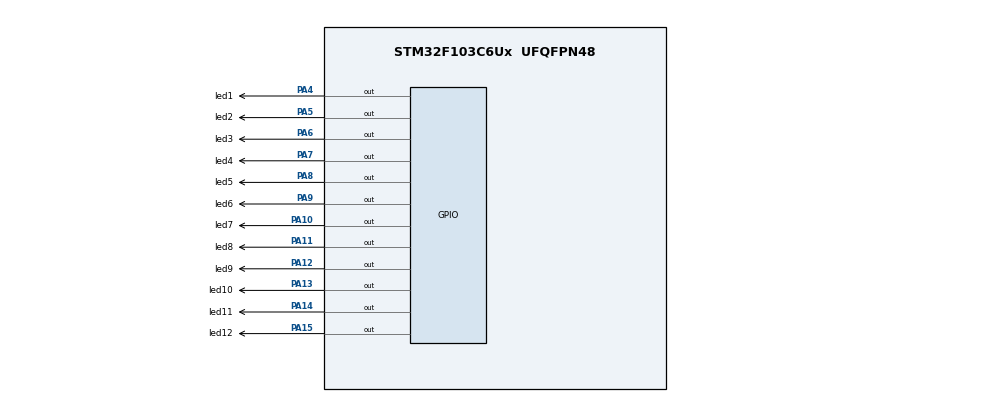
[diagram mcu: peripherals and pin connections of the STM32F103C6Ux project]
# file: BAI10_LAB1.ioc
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Mcu.Family=STM32F1
Mcu.Name=STM32F103C6Ux
Mcu.Package=UFQFPN48
NVIC.PriorityGroup=NVIC_PRIORITYGROUP_4
PA10.GPIO_Label=led7
PA10.Signal=GPIO_Output
PA11.GPIO_Label=led8
PA11.Signal=GPIO_Output
PA12.GPIO_Label=led9
PA12.Signal=GPIO_Output
PA13.GPIO_Label=led10
PA13.Signal=GPIO_Output
PA14.GPIO_Label=led11
PA14.Signal=GPIO_Output
PA15.GPIO_Label=led12
PA15.Signal=GPIO_Output
PA4.GPIO_Label=led1
PA4.Signal=GPIO_Output
PA5.GPIO_Label=led2
PA5.Signal=GPIO_Output
PA6.GPIO_Label=led3
PA6.Signal=GPIO_Output
PA7.GPIO_Label=led4
PA7.Signal=GPIO_Output
PA8.GPIO_Label=led5
PA8.Signal=GPIO_Output
PA9.GPIO_Label=led6
PA9.Signal=GPIO_Output
ProjectManager.HeapSize=0x200
ProjectManager.StackSize=0x400
ProjectManager.TargetToolchain=STM32CubeIDE
RCC.APB1Freq_Value=8000000
RCC.APB2Freq_Value=8000000
VP_SYS_VS_ND.Mode=No_Debug
board=custom

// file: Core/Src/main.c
/* USER CODE BEGIN Header */
/**
  ******************************************************************************
  * @file           : main.c
  * @brief          : Main program body
  ******************************************************************************
  * @attention
  *
  * <h2><center>&copy; Copyright (c) 2022 STMicroelectronics.
  * All rights reserved.</center></h2>
  *
  * This software component is licensed by ST under BSD 3-Clause license,
  * the "License"; You may not use this file except in compliance with the
  * License. You may obtain a copy of the License at:
  *                        opensource.org/licenses/BSD-3-Clause
  *
  ******************************************************************************
  */
/* USER CODE END Header */
#include "main.h"

void SystemClock_Config(void);
static void MX_GPIO_Init(void);

/* USER CODE BEGIN 0 */

void clearAllClock();
void setNumberOnClock(int num);
void clearNumberOnClock(int num);
/* USER CODE END 0 */

int main(void)
{

  /* MCU Configuration--------------------------------------------------------*/

  /* Reset of all peripherals, Initializes the Flash interface and the Systick. */
  HAL_Init();

  /* Configure the system clock */
  SystemClock_Config();

  /* Initialize all configured peripherals */
  MX_GPIO_Init();

  /* Infinite loop */
  /* USER CODE BEGIN WHILE */
  // set time for clock
  int hour = 11, min = 58, sec = 00;
  clearAllClock(); // clear all led on clock
  while (1)
  {
    /* USER CODE END WHILE */
	if(hour < 0)	hour = 0;
	if(sec < 0)		sec = 0;
	if(min < 0)		min = 0;
	if(sec >= 60){
	  clearNumberOnClock((sec-5)/5); // clear old second's led (led 11)
	  //set new second's led (led 0)
	  sec = 0;
	  min++;
	}
	if(min >= 60){
	  clearNumberOnClock((int)(min-5)/5); // clear old led of minute's led (led 11);
	  // set new minute's led
	  min = 0;
	  hour++;
	}
	if(hour >= 12){
		hour = 0;
		// set new hour's led
		setNumberOnClock(hour);
	}
	// clear old second's led when second turn to new led (when second %5 = 0)
	if(sec > 4 && sec%5 == 0) clearNumberOnClock((int) (sec-5)/5);
	// clear old minute's led when minute turn to new led (when minute %5 = 0)
	if(min > 4 && min%5 == 0) clearNumberOnClock((int) (min-5)/5);
	// set led for clock
	setNumberOnClock((int) sec/5);
	setNumberOnClock((int) min/5);
	setNumberOnClock(hour);
	sec++;
	HAL_Delay(100);
  }
}

void SystemClock_Config(void)
{
  RCC_OscInitTypeDef RCC_OscInitStruct = {0};
  RCC_ClkInitTypeDef RCC_ClkInitStruct = {0};

  /** Initializes the RCC Oscillators according to the specified parameters
  * in the RCC_OscInitTypeDef structure.
  */
  RCC_OscInitStruct.OscillatorType = RCC_OSCILLATORTYPE_HSI;
  RCC_OscInitStruct.HSIState = RCC_HSI_ON;
  RCC_OscInitStruct.HSICalibrationValue = RCC_HSICALIBRATION_DEFAULT;
  RCC_OscInitStruct.PLL.PLLState = RCC_PLL_NONE;
  if (HAL_RCC_OscConfig(&RCC_OscInitStruct) != HAL_OK)
  {
    Error_Handler();
  }
  /** Initializes the CPU, AHB and APB buses clocks
  */
  RCC_ClkInitStruct.ClockType = RCC_CLOCKTYPE_HCLK|RCC_CLOCKTYPE_SYSCLK
                              |RCC_CLOCKTYPE_PCLK1|RCC_CLOCKTYPE_PCLK2;
  RCC_ClkInitStruct.SYSCLKSource = RCC_SYSCLKSOURCE_HSI;
  RCC_ClkInitStruct.AHBCLKDivider = RCC_SYSCLK_DIV1;
  RCC_ClkInitStruct.APB1CLKDivider = RCC_HCLK_DIV1;
  RCC_ClkInitStruct.APB2CLKDivider = RCC_HCLK_DIV1;

  if (HAL_RCC_ClockConfig(&RCC_ClkInitStruct, FLASH_LATENCY_0) != HAL_OK)
  {
    Error_Handler();
  }
}

static void MX_GPIO_Init(void)
{
  GPIO_InitTypeDef GPIO_InitStruct = {0};

  /* GPIO Ports Clock Enable */
  __HAL_RCC_GPIOA_CLK_ENABLE();

  /*Configure GPIO pin Output Level */
  HAL_GPIO_WritePin(GPIOA, led1_Pin|led2_Pin|led3_Pin|led4_Pin
                          |led5_Pin|led6_Pin|led7_Pin|led8_Pin
                          |led9_Pin|led10_Pin|led11_Pin|led12_Pin, GPIO_PIN_RESET);

  /*Configure GPIO pins : led1_Pin led2_Pin led3_Pin led4_Pin
                           led5_Pin led6_Pin led7_Pin led8_Pin
                           led9_Pin led10_Pin led11_Pin led12_Pin */
  GPIO_InitStruct.Pin = led1_Pin|led2_Pin|led3_Pin|led4_Pin
                          |led5_Pin|led6_Pin|led7_Pin|led8_Pin
                          |led9_Pin|led10_Pin|led11_Pin|led12_Pin;
  GPIO_InitStruct.Mode = GPIO_MODE_OUTPUT_PP;
  GPIO_InitStruct.Pull = GPIO_NOPULL;
  GPIO_InitStruct.Speed = GPIO_SPEED_FREQ_LOW;
  HAL_GPIO_Init(GPIOA, &GPIO_InitStruct);

}

/* USER CODE BEGIN 4 */
void clearAllClock(){
	HAL_GPIO_WritePin(GPIOA, led1_Pin|led2_Pin|led3_Pin|led4_Pin|led5_Pin|
				led6_Pin|led7_Pin|led8_Pin|led9_Pin|led10_Pin|led11_Pin|led12_Pin, 1);
}
void setNumberOnClock(int num){
	if (num == 0){
		HAL_GPIO_WritePin(led12_GPIO_Port, led12_Pin, RESET);
	}
	else if (num == 1){
		HAL_GPIO_WritePin(led1_GPIO_Port, led1_Pin, RESET);
	}
	else if (num == 2){
		HAL_GPIO_WritePin(led2_GPIO_Port, led2_Pin, RESET);
	}
	else if (num == 3){
		HAL_GPIO_WritePin(led3_GPIO_Port, led3_Pin, RESET);
	}
	else if (num == 4){
		HAL_GPIO_WritePin(led4_GPIO_Port, led4_Pin, RESET);
	}
	else if (num == 5){
		HAL_GPIO_WritePin(led5_GPIO_Port, led5_Pin, RESET);
	}
	else if (num == 6){
		HAL_GPIO_WritePin(led6_GPIO_Port, led6_Pin, RESET);
	}
	else if (num == 7){
		HAL_GPIO_WritePin(led7_GPIO_Port, led7_Pin, RESET);
	}
	else if (num == 8){
		HAL_GPIO_WritePin(led8_GPIO_Port, led8_Pin, RESET);
	}
	else if (num == 9){
		HAL_GPIO_WritePin(led9_GPIO_Port, led9_Pin, RESET);
	}
	else if (num == 10){
		HAL_GPIO_WritePin(led10_GPIO_Port, led10_Pin, RESET);
	}
	else if (num == 11){
		HAL_GPIO_WritePin(led11_GPIO_Port, led11_Pin, RESET);
	}
}
void clearNumberOnClock(int num){
	if (num == 0){
		HAL_GPIO_WritePin(led12_GPIO_Port, led12_Pin, SET);
	}
	else if (num == 1){
		HAL_GPIO_WritePin(led1_GPIO_Port, led1_Pin, SET);
	}
	else if (num == 2){
		HAL_GPIO_WritePin(led2_GPIO_Port, led2_Pin, SET);
	}
	else if (num == 3){
		HAL_GPIO_WritePin(led3_GPIO_Port, led3_Pin, SET);
	}
	else if (num == 4){
		HAL_GPIO_WritePin(led4_GPIO_Port, led4_Pin, SET);
	}
	else if (num == 5){
		HAL_GPIO_WritePin(led5_GPIO_Port, led5_Pin, SET);
	}
	else if (num == 6){
		HAL_GPIO_WritePin(led6_GPIO_Port, led6_Pin, SET);
	}
	else if (num == 7){
		HAL_GPIO_WritePin(led7_GPIO_Port, led7_Pin, SET);
	}
	else if (num == 8){
		HAL_GPIO_WritePin(led8_GPIO_Port, led8_Pin, SET);
	}
	else if (num == 9){
		HAL_GPIO_WritePin(led9_GPIO_Port, led9_Pin, SET);
	}
	else if (num == 10){
		HAL_GPIO_WritePin(led10_GPIO_Port, led10_Pin, SET);
	}
	else if (num == 11){
		HAL_GPIO_WritePin(led11_GPIO_Port, led11_Pin, SET);
	}
}

/* USER CODE END 4 */

void Error_Handler(void)
{
  __disable_irq();
  while (1)
  {
  }
}

/************************ (C) COPYRIGHT STMicroelectronics *****END OF FILE****/
